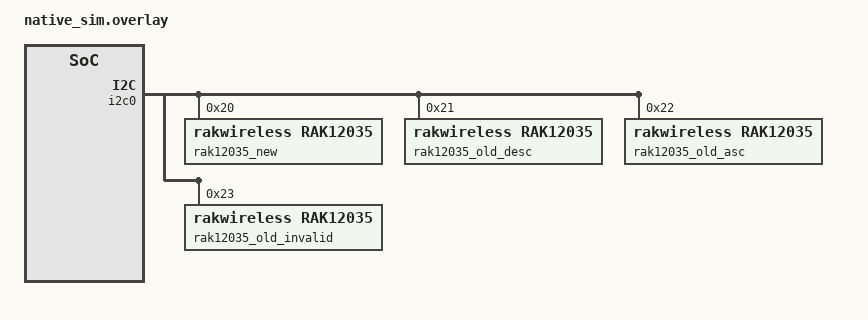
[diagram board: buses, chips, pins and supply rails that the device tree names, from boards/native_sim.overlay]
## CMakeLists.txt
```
# Copyright (c) 2026 RAKwireless Technology Limited
# SPDX-License-Identifier: Apache-2.0

cmake_minimum_required(VERSION 3.28.0)
find_package(Zephyr REQUIRED HINTS $ENV{ZEPHYR_BASE})
project(rak12035)

target_sources(app PRIVATE src/rak12035_test.c)
zephyr_include_directories(${ZEPHYR_BASE}/drivers/sensor/rakwireless/rak12035)
```

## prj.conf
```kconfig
# Copyright (c) 2026 RAKwireless Technology Limited
# SPDX-License-Identifier: Apache-2.0

CONFIG_STDOUT_CONSOLE=y
CONFIG_I2C=y
CONFIG_SENSOR=y
CONFIG_EMUL=y
CONFIG_ZTEST=y
CONFIG_RAK12035=y
```

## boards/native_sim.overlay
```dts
/*
 * Copyright (c) 2026 RAKwireless Technology Limited
 *
 * SPDX-License-Identifier: Apache-2.0
 */

&i2c0 {
	status = "okay";

	rak12035_new: rak12035@20 {
		compatible = "rakwireless,rak12035";
		reg = <0x20>;
	};

	rak12035_old_desc: rak12035@21 {
		compatible = "rakwireless,rak12035";
		reg = <0x21>;
	};

	rak12035_old_asc: rak12035@22 {
		compatible = "rakwireless,rak12035";
		reg = <0x22>;
	};

	rak12035_old_invalid: rak12035@23 {
		compatible = "rakwireless,rak12035";
		reg = <0x23>;
	};
};

/ {
	aliases {
		rak12035-new = &rak12035_new;
		rak12035-old-desc = &rak12035_old_desc;
		rak12035-old-asc = &rak12035_old_asc;
		rak12035-old-invalid = &rak12035_old_invalid;
	};
};
```

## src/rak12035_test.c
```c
/*
 * Copyright (c) 2026 RAKwireless Technology Limited
 *
 * SPDX-License-Identifier: Apache-2.0
 */

#include <errno.h>

#include <zephyr/device.h>
#include <zephyr/drivers/emul.h>
#include <zephyr/drivers/sensor.h>
#include <zephyr/drivers/sensor/rak12035.h>
#include <zephyr/init.h>
#include <zephyr/ztest.h>

#include "rak12035_emul.h"

#define RAK12035_NEW_NODE		DT_ALIAS(rak12035_new)
#define RAK12035_OLD_DESC_NODE		DT_ALIAS(rak12035_old_desc)
#define RAK12035_OLD_ASC_NODE		DT_ALIAS(rak12035_old_asc)
#define RAK12035_OLD_INVALID_NODE	DT_ALIAS(rak12035_old_invalid)

struct rak12035_fixture {
	const struct device *new_dev;
	const struct device *old_desc_dev;
	const struct device *old_asc_dev;
	const struct device *old_invalid_dev;
	const struct emul *new_emul;
	const struct emul *old_desc_emul;
	const struct emul *old_asc_emul;
	const struct emul *old_invalid_emul;
};

static int rak12035_seed_old_firmware(void)
{
	const struct emul *old_desc = EMUL_DT_GET(DT_ALIAS(rak12035_old_desc));
	const struct emul *old_asc = EMUL_DT_GET(DT_ALIAS(rak12035_old_asc));
	const struct emul *old_invalid = EMUL_DT_GET(DT_ALIAS(rak12035_old_invalid));

	rak12035_emul_set_version(old_desc, 0x02);
	rak12035_emul_set_calibration(old_desc, 800, 300);
	rak12035_emul_set_version(old_asc, 0x02);
	rak12035_emul_set_calibration(old_asc, 100, 300);
	rak12035_emul_set_version(old_invalid, 0x02);
	rak12035_emul_set_calibration(old_invalid, 500, 500);

	return 0;
}

SYS_INIT(rak12035_seed_old_firmware, POST_KERNEL, 89);

static void *rak12035_setup(void)
{
	static struct rak12035_fixture fixture = {
		.new_dev = DEVICE_DT_GET(RAK12035_NEW_NODE),
		.old_desc_dev = DEVICE_DT_GET(RAK12035_OLD_DESC_NODE),
		.old_asc_dev = DEVICE_DT_GET(RAK12035_OLD_ASC_NODE),
		.old_invalid_dev = DEVICE_DT_GET(RAK12035_OLD_INVALID_NODE),
		.new_emul = EMUL_DT_GET(DT_ALIAS(rak12035_new)),
		.old_desc_emul = EMUL_DT_GET(DT_ALIAS(rak12035_old_desc)),
		.old_asc_emul = EMUL_DT_GET(DT_ALIAS(rak12035_old_asc)),
		.old_invalid_emul = EMUL_DT_GET(DT_ALIAS(rak12035_old_invalid)),
	};

	zassert_true(device_is_ready(fixture.new_dev));
	zassert_true(device_is_ready(fixture.old_desc_dev));
	zassert_true(device_is_ready(fixture.old_asc_dev));
	zassert_true(device_is_ready(fixture.old_invalid_dev));

	return &fixture;
}

static void rak12035_before(void *data)
{
	const struct rak12035_fixture *fixture = data;

	rak12035_emul_reset(fixture->new_emul);
	rak12035_emul_set_version(fixture->old_desc_emul, 0x02);
	rak12035_emul_set_capacitance(fixture->old_desc_emul, 550);
	rak12035_emul_set_version(fixture->old_asc_emul, 0x02);
	rak12035_emul_set_capacitance(fixture->old_asc_emul, 200);
}

ZTEST_SUITE(rak12035, NULL, rak12035_setup, rak12035_before, NULL, NULL);

ZTEST_F(rak12035, test_fetch_all_new_firmware)
{
	struct sensor_value value;

	rak12035_emul_set_temperature(fixture->new_emul, 235);
	rak12035_emul_set_capacitance(fixture->new_emul, 612);
	rak12035_emul_set_moisture(fixture->new_emul, 42);

	zassert_ok(sensor_sample_fetch(fixture->new_dev));

	zassert_ok(sensor_channel_get(fixture->new_dev, SENSOR_CHAN_AMBIENT_TEMP, &value));
	zassert_equal(value.val1, 23);
	zassert_equal(value.val2, 500000);

	zassert_ok(sensor_channel_get(fixture->new_dev, SENSOR_CHAN_HUMIDITY, &value));
	zassert_equal(value.val1, 42);
	zassert_equal(value.val2, 0);

	zassert_ok(sensor_channel_get(fixture->new_dev,
				      SENSOR_CHAN_RAK12035_CAPACITANCE_RAW, &value));
	zassert_equal(value.val1, 612);
	zassert_equal(value.val2, 0);
}

ZTEST_F(rak12035, test_negative_temperature)
{
	struct sensor_value value;

	rak12035_emul_set_temperature(fixture->new_emul, -55);

	zassert_ok(sensor_sample_fetch_chan(fixture->new_dev, SENSOR_CHAN_AMBIENT_TEMP));
	zassert_ok(sensor_channel_get(fixture->new_dev, SENSOR_CHAN_AMBIENT_TEMP, &value));
	zassert_equal(value.val1, -5);
	zassert_equal(value.val2, -500000);
}

ZTEST_F(rak12035, test_invalid_device_humidity)
{
	rak12035_emul_set_moisture(fixture->new_emul, 101);

	zassert_equal(sensor_sample_fetch_chan(fixture->new_dev, SENSOR_CHAN_HUMIDITY),
		      -ERANGE);
}

ZTEST_F(rak12035, test_i2c_error_propagation)
{
	rak12035_emul_fail_next_transfer(fixture->new_emul, -EIO);

	zassert_equal(sensor_sample_fetch_chan(fixture->new_dev, SENSOR_CHAN_HUMIDITY), -EIO);
}

ZTEST_F(rak12035, test_set_and_get_calibration)
{
	struct sensor_value dry = {.val1 = 845};
	struct sensor_value wet = {.val1 = 635};
	struct sensor_value value;

	zassert_ok(sensor_attr_set(fixture->new_dev, SENSOR_CHAN_HUMIDITY,
				   SENSOR_ATTR_RAK12035_CALIBRATION_DRY, &dry));
	zassert_ok(sensor_attr_set(fixture->new_dev, SENSOR_CHAN_HUMIDITY,
				   SENSOR_ATTR_RAK12035_CALIBRATION_WET, &wet));

	zassert_ok(sensor_attr_get(fixture->new_dev, SENSOR_CHAN_HUMIDITY,
				   SENSOR_ATTR_RAK12035_CALIBRATION_DRY, &value));
	zassert_equal(value.val1, 845);
	zassert_equal(value.val2, 0);

	zassert_ok(sensor_attr_get(fixture->new_dev, SENSOR_CHAN_HUMIDITY,
				   SENSOR_ATTR_RAK12035_CALIBRATION_WET, &value));
	zassert_equal(value.val1, 635);
	zassert_equal(value.val2, 0);
}

ZTEST_F(rak12035, test_invalid_calibration_attribute)
{
	struct sensor_value invalid_fraction = {.val1 = 500, .val2 = 1};
	struct sensor_value invalid_range = {.val1 = -1};
	struct sensor_value value = {.val1 = 500};

	zassert_equal(sensor_attr_set(fixture->new_dev, SENSOR_CHAN_HUMIDITY,
				      SENSOR_ATTR_RAK12035_CALIBRATION_DRY,
				      &invalid_fraction),
		      -EINVAL);
	zassert_equal(sensor_attr_set(fixture->new_dev, SENSOR_CHAN_HUMIDITY,
				      SENSOR_ATTR_RAK12035_CALIBRATION_DRY,
				      &invalid_range),
		      -EINVAL);
	zassert_equal(sensor_attr_set(fixture->new_dev, SENSOR_CHAN_PRESS,
				      SENSOR_ATTR_RAK12035_CALIBRATION_DRY, &value),
		      -ENOTSUP);
}

ZTEST_F(rak12035, test_old_firmware_descending_calibration)
{
	struct sensor_value value;

	zassert_ok(sensor_sample_fetch_chan(fixture->old_desc_dev, SENSOR_CHAN_HUMIDITY));
	zassert_ok(sensor_channel_get(fixture->old_desc_dev, SENSOR_CHAN_HUMIDITY, &value));
	zassert_equal(value.val1, 50);

	rak12035_emul_set_capacitance(fixture->old_desc_emul, 900);
	zassert_ok(sensor_sample_fetch_chan(fixture->old_desc_dev, SENSOR_CHAN_HUMIDITY));
	zassert_ok(sensor_channel_get(fixture->old_desc_dev, SENSOR_CHAN_HUMIDITY, &value));
	zassert_equal(value.val1, 0);

	rak12035_emul_set_capacitance(fixture->old_desc_emul, 200);
	zassert_ok(sensor_sample_fetch_chan(fixture->old_desc_dev, SENSOR_CHAN_HUMIDITY));
	zassert_ok(sensor_channel_get(fixture->old_desc_dev, SENSOR_CHAN_HUMIDITY, &value));
	zassert_equal(value.val1, 100);
}

ZTEST_F(rak12035, test_old_firmware_ascending_calibration)
{
	struct sensor_value value;

	zassert_ok(sensor_sample_fetch_chan(fixture->old_asc_dev, SENSOR_CHAN_HUMIDITY));
	zassert_ok(sensor_channel_get(fixture->old_asc_dev, SENSOR_CHAN_HUMIDITY, &value));
	zassert_equal(value.val1, 50);

	rak12035_emul_set_capacitance(fixture->old_asc_emul, 50);
	zassert_ok(sensor_sample_fetch_chan(fixture->old_asc_dev, SENSOR_CHAN_HUMIDITY));
	zassert_ok(sensor_channel_get(fixture->old_asc_dev, SENSOR_CHAN_HUMIDITY, &value));
	zassert_equal(value.val1, 0);

	rak12035_emul_set_capacitance(fixture->old_asc_emul, 350);
	zassert_ok(sensor_sample_fetch_chan(fixture->old_asc_dev, SENSOR_CHAN_HUMIDITY));
	zassert_ok(sensor_channel_get(fixture->old_asc_dev, SENSOR_CHAN_HUMIDITY, &value));
	zassert_equal(value.val1, 100);
}

ZTEST_F(rak12035, test_unsupported_channel)
{
	struct sensor_value value;

	zassert_equal(sensor_sample_fetch_chan(fixture->new_dev, SENSOR_CHAN_PRESS), -ENOTSUP);
	zassert_equal(sensor_channel_get(fixture->new_dev, SENSOR_CHAN_PRESS, &value), -ENOTSUP);
}
```
